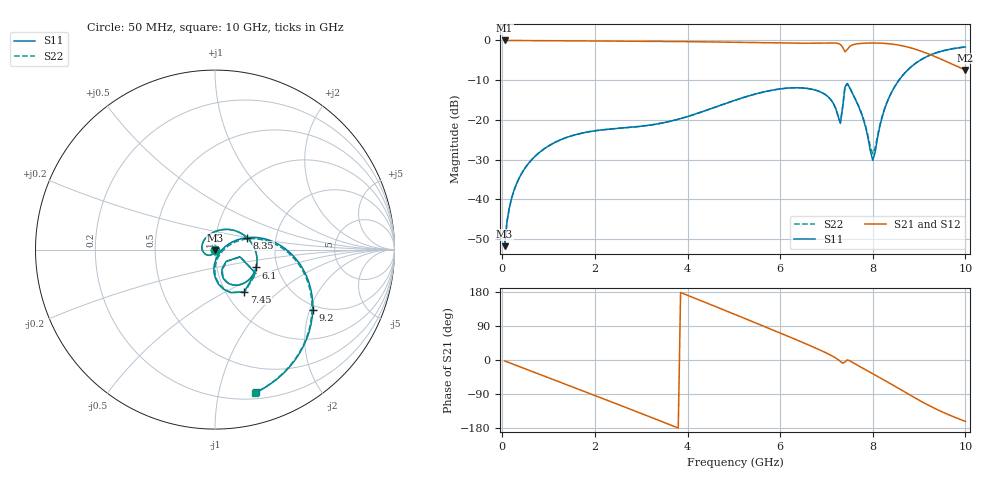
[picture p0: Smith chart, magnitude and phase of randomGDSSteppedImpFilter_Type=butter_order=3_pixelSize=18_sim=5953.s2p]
! freq	dB(S11)	phase(S11)	dB(S12)	phase(S12)
!  dB(S21)	phase(S21)	dB(S22)	phase(S22)
!S-par simulation data
#  GHz  S  DB  R 50
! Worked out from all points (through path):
!   200 points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, 50 MHz to 10 GHz, reference 50 ohm
!   highest |S21| = 0.00 dB at 50 MHz (marker M1); lowest = -7.5 dB at 10 GHz (marker M2)
!   group delay of S21, straight-line fit = 144 ps
!   lowest |S11| = -51.8 dB at 50 MHz (marker M3), VSWR 1.01, Z = 50 - j0.258 ohm
!   |S11| at or under -10 dB: start of sweep to 8.566 GHz
!   |S22| runs from -51.8 to -1.6 dB; largest |S21 - S12| = 0
!   S11 on the Smith chart (normalised r, x): 50 MHz: 1.00, -0.01; 6.1 GHz: 1.55, -0.33; 7.45 GHz: 1.22, -0.62; 8.35 GHz: 1.42, +0.20; 9.2 GHz: 1.85, -2.10; 10 GHz: 0.26, -1.30
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0.05  -51.76 -90.8  -0.00 -2.4  -0.00 -2.4  -51.76 -90.8
0.1  -45.75 -94.0  -0.01 -4.8  -0.01 -4.8  -45.75 -94.0
0.2  -39.75 -99.1  -0.02 -9.5  -0.02 -9.5  -39.75 -99.1
0.5  -31.96 -113.6  -0.04 -23.5  -0.04 -23.5  -31.96 -113.7
1.15  -25.58 -144.9  -0.07 -53.9  -0.07 -53.9  -25.57 -145.0
1.75  -23.24 -173.8  -0.12 -82.0  -0.12 -82.0  -23.24 -174.0
2.5  -22.12 150.2  -0.17 -117.3  -0.17 -117.3  -22.12 149.8
3.4  -20.89 107.1  -0.24 -160.3  -0.24 -160.3  -20.89 106.5
4.2  -18.40 68.6  -0.33 160.9  -0.33 160.9  -18.40 68.0
5.05  -14.95 27.6  -0.47 118.9  -0.47 118.9  -14.95 27.3
6.1  -12.06 -23.4  -0.67 66.2  -0.67 66.2  -12.06 -23.3
6.7  -12.32 -53.2  -0.70 35.1  -0.70 35.1  -12.31 -52.7
7.1  -14.99 -72.6  -0.64 12.2  -0.64 12.2  -14.97 -71.6
7.3  -20.88 -46.1  -0.99 -3.8  -0.99 -3.8  -20.59 -44.6
7.4  -11.69 -30.3  -2.86 -5.1  -2.86 -5.1  -11.58 -30.1
7.45  -10.89 -55.2  -2.26 0.3  -2.26 0.3  -10.82 -54.7
7.8  -19.95 -93.3  -0.70 -22.7  -0.70 -22.7  -19.76 -90.4
8  -30.17 -38.0  -0.64 -36.0  -0.64 -36.0  -28.52 -38.0
8.35  -14.41 20.6  -0.84 -60.3  -0.84 -60.3  -14.36 18.3
8.75  -7.48 -2.8  -1.65 -88.9  -1.65 -88.9  -7.47 -4.0
9.2  -3.88 -31.6  -3.38 -119.3  -3.38 -119.3  -3.88 -32.4
10  -1.64 -73.8  -7.45 -161.9  -7.45 -161.9  -1.64 -74.3
